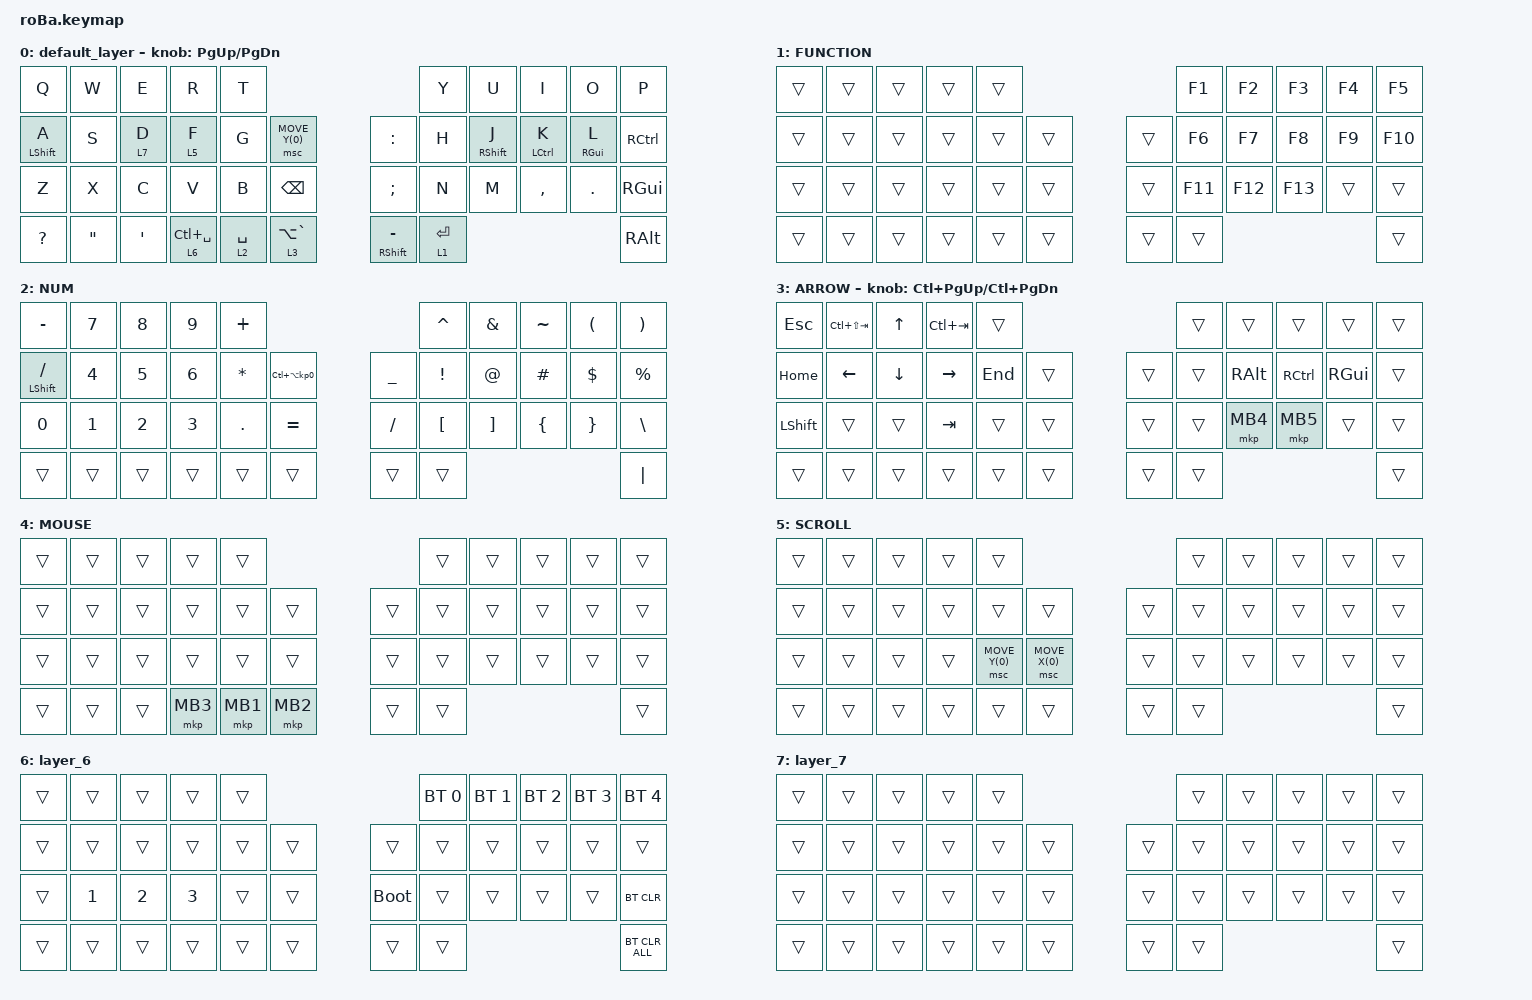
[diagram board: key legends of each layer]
#include <input/processors.dtsi>
#include <behaviors.dtsi>
#include <dt-bindings/zmk/bt.h>
#include <dt-bindings/zmk/keys.h>
#include <dt-bindings/zmk/pointing.h>

&mt {
    flavor = "balanced";
    quick-tap-ms = <0>;
};

&zip_temp_layer {
    excluded-positions = <
        37 // 左手親指：INT_HENKANの位置（上記例の MB2）
        38 // 左手親指：SPACEの位置（上記例の MB1）
        39 // 左手親指：INT_MUHENKANの位置（上記例の MB3）
    >;
};

&trackball {
    // automouse-layer = <4>;

    scroll-layers = <5>;

    // arrows {
    //     layers = <3>;
    //     bindings =
    //         <&kp RIGHT_ARROW>,
    //         <&kp LEFT_ARROW>,
    //         <&kp UP_ARROW>,
    //         <&kp DOWN_ARROW>;
    //     tick = <10>;
    //     wait-ms = <5>;
    //     tap-ms = <5>;
    // };
};

/ {
    combos {
        compatible = "zmk,combos";

        tab {
            bindings = <&kp TAB>;
            key-positions = <11 12>;
        };

        shift_tab {
            bindings = <&kp LS(TAB)>;
            key-positions = <12 13>;
        };

        muhennkann {
            bindings = <&to_layer_0 INT_MUHENKAN>;
            key-positions = <11 10>;
        };

        double_quotation {
            bindings = <&kp DOUBLE_QUOTES>;
            key-positions = <20 21>;
        };

        eq {
            bindings = <&kp EQUAL>;
            key-positions = <24 25>;
        };
    };

    macros {
        to_layer_0: to_layer_0 {
            compatible = "zmk,behavior-macro-one-param";
            #binding-cells = <1>;
            bindings = <&to 0 &macro_param_1to1 &kp MACRO_PLACEHOLDER>;
            label = "TO_LAYER_0";
        };

        mac_app_switch: mac_app_switch {
            compatible = "zmk,behavior-macro";
            #binding-cells = <0>;

            // Cmdを押す → Tabを1回だけ叩く → Cmdを離す

            bindings =
                <&macro_press>,
                <&kp LCMD>,
                <&macro_tap>,
                <&kp TAB>,
                <&macro_release>,
                <&kp LCMD>;
        };

        win_app_switch: win_app_switch {
            compatible = "zmk,behavior-macro";
            #binding-cells = <0>;

            // Altを押す → Tabを1回だけ叩く → Altを離す

            bindings =
                <&macro_press>,
                <&kp LALT>,
                <&macro_tap>,
                <&kp TAB>,
                <&macro_release>,
                <&kp LALT>;
        };
    };

    behaviors {
        lt_to_layer_0: lt_to_layer_0 {
            compatible = "zmk,behavior-hold-tap";
            label = "LAYER_TAP_TO_0";
            bindings = <&mo>, <&to_layer_0>;

            #binding-cells = <2>;
            tapping-term-ms = <200>;
        };
    };

    keymap {
        compatible = "zmk,keymap";

        default_layer {
            bindings = <
&kp Q         &kp W              &kp E    &kp R                       &kp T                                                               &kp Y        &kp U              &kp I        &kp O       &kp P
&mt LSHFT A   &kp S              &lt 7 D  &lt 5 F                     &kp G        &msc MOVE_Y(0)                  &kp COLON              &kp H        &mt RIGHT_SHIFT J  &mt LCTRL K  &mt RGUI L  &kp RCTRL
&kp Z         &kp X              &kp C    &kp V                       &kp B        &kp BACKSPACE                   &kp SEMICOLON          &kp N        &kp M              &kp COMMA    &kp DOT     &kp RGUI
&kp QUESTION  &kp DOUBLE_QUOTES  &kp SQT  &lt_to_layer_0 6 LC(SPACE)  &lt 2 SPACE  &lt_to_layer_0 3 LA(GRAVE)      &mt RIGHT_SHIFT MINUS  &lt 1 ENTER                                              &kp RALT
            >;

            sensor-bindings = <&inc_dec_kp PG_UP PAGE_DOWN>;
        };

        FUNCTION {
            bindings = <
&trans  &trans  &trans  &trans  &trans                      &kp F1   &kp F2   &kp F3   &kp F4  &kp F5
&trans  &trans  &trans  &trans  &trans  &trans      &trans  &kp F6   &kp F7   &kp F8   &kp F9  &kp F10
&trans  &trans  &trans  &trans  &trans  &trans      &trans  &kp F11  &kp F12  &kp F13  &trans  &trans
&trans  &trans  &trans  &trans  &trans  &trans      &trans  &trans                             &trans
            >;
        };

        NUM {
            bindings = <
&kp MINUS        &kp NUMBER_7  &kp NUMBER_8  &kp NUMBER_9  &kp PLUS                                                   &kp CARET         &kp AMPERSAND      &kp TILDE       &kp LEFT_PARENTHESIS  &kp RIGHT_PARENTHESIS
&mt LSHFT SLASH  &kp NUMBER_4  &kp NUMBER_5  &kp NUMBER_6  &kp ASTERISK  &kp LC(LA(KP_NUMBER_0))      &kp UNDERSCORE  &kp EXCLAMATION   &kp AT_SIGN        &kp HASH        &kp DOLLAR            &kp PERCENT
&kp NUMBER_0     &kp NUMBER_1  &kp NUMBER_2  &kp NUMBER_3  &kp PERIOD    &kp EQUAL                    &kp SLASH       &kp LEFT_BRACKET  &kp RIGHT_BRACKET  &kp LEFT_BRACE  &kp RIGHT_BRACE       &kp BACKSLASH
&trans           &trans        &trans        &trans        &trans        &trans                       &trans          &trans                                                                     &kp PIPE
            >;
        };

        ARROW {
            bindings = <
&kp ESCAPE      &kp LC(LS(TAB))  &kp UP_ARROW    &kp LC(TAB)      &trans                       &trans  &trans    &trans     &trans    &trans
&kp HOME        &kp LEFT_ARROW   &kp DOWN_ARROW  &kp RIGHT_ARROW  &kp END  &trans      &trans  &trans  &kp RALT  &kp RCTRL  &kp RGUI  &trans
&kp LEFT_SHIFT  &trans           &trans          &kp TAB          &trans   &trans      &trans  &trans  &mkp MB4  &mkp MB5   &trans    &trans
&trans          &trans           &trans          &trans           &trans   &trans      &trans  &trans                                 &trans
            >;

            sensor-bindings = <&inc_dec_kp LC(PAGE_UP) LC(PAGE_DOWN)>;
        };

        MOUSE {
            bindings = <
&trans  &trans  &trans  &trans    &trans                          &trans  &trans  &trans  &trans  &trans
&trans  &trans  &trans  &trans    &trans    &trans        &trans  &trans  &trans  &trans  &trans  &trans
&trans  &trans  &trans  &trans    &trans    &trans        &trans  &trans  &trans  &trans  &trans  &trans
&trans  &trans  &trans  &mkp MB3  &mkp MB1  &mkp MB2      &trans  &trans                          &trans
            >;
        };

        SCROLL {
            bindings = <
&trans  &trans  &trans  &trans  &trans                                      &trans  &trans  &trans  &trans  &trans
&trans  &trans  &trans  &trans  &trans          &trans              &trans  &trans  &trans  &trans  &trans  &trans
&trans  &trans  &trans  &trans  &msc MOVE_Y(0)  &msc MOVE_X(0)      &trans  &trans  &trans  &trans  &trans  &trans
&trans  &trans  &trans  &trans  &trans          &trans              &trans  &trans                          &trans
            >;
        };

        layer_6 {
            bindings = <
&trans  &trans        &trans        &trans        &trans                           &bt BT_SEL 0  &bt BT_SEL 1  &bt BT_SEL 2  &bt BT_SEL 3  &bt BT_SEL 4
&trans  &trans        &trans        &trans        &trans  &trans      &trans       &trans        &trans        &trans        &trans        &trans
&trans  &kp NUMBER_1  &kp NUMBER_2  &kp NUMBER_3  &trans  &trans      &bootloader  &trans        &trans        &trans        &trans        &bt BT_CLR
&trans  &trans        &trans        &trans        &trans  &trans      &trans       &trans                                                  &bt BT_CLR_ALL
            >;
        };

        layer_7 {
            bindings = <
&trans  &trans  &trans  &trans  &trans                      &trans  &trans  &trans  &trans  &trans
&trans  &trans  &trans  &trans  &trans  &trans      &trans  &trans  &trans  &trans  &trans  &trans
&trans  &trans  &trans  &trans  &trans  &trans      &trans  &trans  &trans  &trans  &trans  &trans
&trans  &trans  &trans  &trans  &trans  &trans      &trans  &trans                          &trans
            >;
        };
    };
};

&trackball_listener {
    input-processors = <&zip_xy_scaler 3 2>, <&zip_temp_layer 4 10000>;

    sniper {
        layers = <7>;
        input-processors = <&zip_xy_scaler 1 3>;
    };
};
